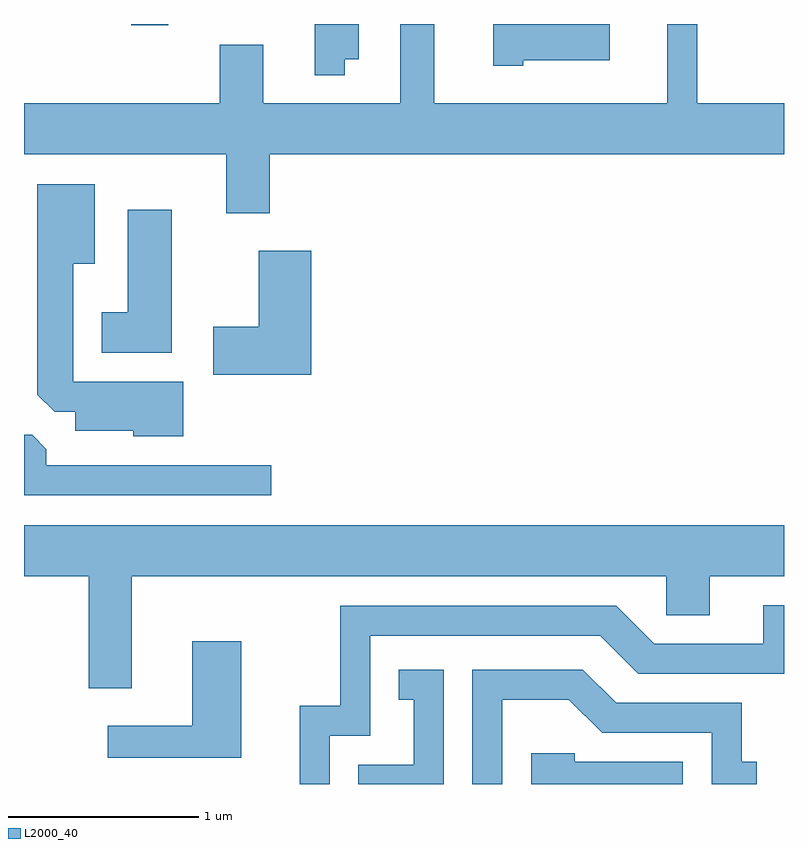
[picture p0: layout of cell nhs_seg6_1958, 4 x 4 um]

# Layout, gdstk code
import gdstk
lib = gdstk.Library(unit=1e-6, precision=1e-09)
def R(c, l, rs):  # rectangles x0, y0, x1, y1
    for r in rs: c.add(gdstk.rectangle(r[:2], r[2:], *l))
def P(c, l, *ps):  # polygons
    for p in ps: c.add(gdstk.Polygon(p, *l))
L2000_40 = (2000, 40)

nhs_seg6_1958 = lib.new_cell('nhs_seg6_1958')
R(nhs_seg6_1958, L2000_40, [(244.176,1666.156,244.369,1666.162)])
P(nhs_seg6_1958, L2000_40, [(244.904,1665.476),(247.611,1665.476),(247.611,1665.744),(247.154,1665.744),(247.154,1666.162),(246.996,1666.162),(246.996,1665.744),(245.769,1665.744),(245.769,1666.162),(245.591,1666.162),(245.591,1665.744),(244.869,1665.744),(244.869,1666.054),(244.641,1666.054),(244.641,1665.744),(243.611,1665.744),(243.611,1665.476),(244.676,1665.476),(244.676,1665.166),(244.904,1665.166)],
  [(245.299,1665.976),(245.374,1665.976),(245.374,1666.162),(245.141,1666.162),(245.141,1665.893),(245.299,1665.893)],
  [(246.239,1665.971),(246.694,1665.971),(246.694,1666.162),(246.081,1666.162),(246.081,1665.941),(246.239,1665.941)],
  [(244.449,1664.279),(243.869,1664.279),(243.869,1664.901),(243.984,1664.901),(243.984,1665.319),(243.681,1665.319),(243.681,1664.212),(243.772,1664.121),(243.881,1664.121),(243.881,1664.021),(244.186,1664.021),(244.186,1663.991),(244.449,1663.991)],
  [(244.389,1665.184),(244.156,1665.184),(244.156,1664.644),(244.021,1664.644),(244.021,1664.431),(244.389,1664.431)],
  [(245.124,1664.969),(244.846,1664.969),(244.846,1664.569),(244.606,1664.569),(244.606,1664.316),(245.124,1664.316)],
  [(244.913,1663.839),(243.729,1663.839),(243.729,1663.924),(243.654,1663.999),(243.611,1663.999),(243.611,1663.681),(244.913,1663.681)],
  [(244.179,1663.256),(246.991,1663.256),(246.991,1663.051),(247.219,1663.051),(247.219,1663.256),(247.611,1663.256),(247.611,1663.524),(243.611,1663.524),(243.611,1663.256),(243.951,1663.256),(243.951,1662.666),(244.179,1662.666)],
  [(245.219,1662.416),(245.434,1662.416),(245.434,1662.941),(246.644,1662.941),(246.844,1662.741),(247.611,1662.741),(247.611,1663.104),(247.501,1663.104),(247.501,1662.899),(246.927,1662.899),(246.727,1663.099),(245.276,1663.099),(245.276,1662.574),(245.061,1662.574),(245.061,1662.162),(245.219,1662.162)],
  [(244.754,1662.914),(244.496,1662.914),(244.496,1662.469),(244.053,1662.469),(244.053,1662.301),(244.754,1662.301)],
  [(246.129,1662.606),(246.479,1662.606),(246.654,1662.431),(247.231,1662.431),(247.231,1662.162),(247.468,1662.162),(247.468,1662.279),(247.389,1662.279),(247.389,1662.589),(246.727,1662.589),(246.552,1662.764),(245.971,1662.764),(245.971,1662.162),(246.129,1662.162)],
  [(245.819,1662.764),(245.583,1662.764),(245.583,1662.606),(245.661,1662.606),(245.661,1662.264),(245.371,1662.264),(245.371,1662.162),(245.819,1662.162)],
  [(247.079,1662.279),(246.509,1662.279),(246.509,1662.324),(246.281,1662.324),(246.281,1662.162),(247.079,1662.162)])

lib.write_gds('nhs_seg6_1958.gds')
